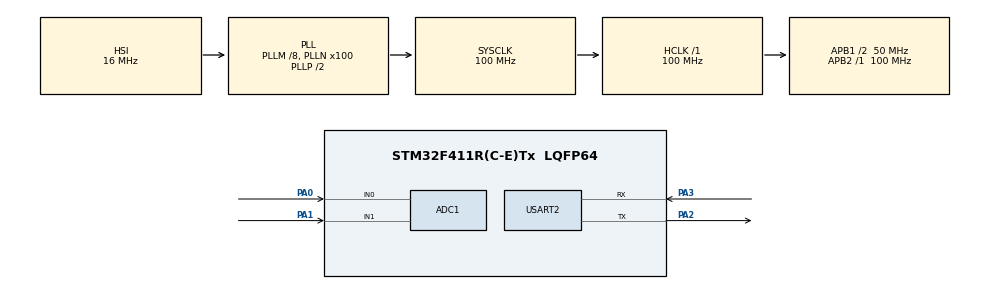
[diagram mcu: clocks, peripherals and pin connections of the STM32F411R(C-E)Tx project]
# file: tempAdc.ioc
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ADC1.Channel-0\#ChannelRegularConversion=ADC_CHANNEL_0
ADC1.Channel-1\#ChannelRegularConversion=ADC_CHANNEL_1
ADC1.ContinuousConvMode=ENABLE
ADC1.NbrOfConversion=2
ADC1.NbrOfConversionFlag=1
ADC1.Rank-0\#ChannelRegularConversion=1
ADC1.Rank-1\#ChannelRegularConversion=2
ADC1.SamplingTime-0\#ChannelRegularConversion=ADC_SAMPLETIME_84CYCLES
ADC1.SamplingTime-1\#ChannelRegularConversion=ADC_SAMPLETIME_84CYCLES
ADC1.ScanConvMode=ENABLE
ADC1.master=1
Mcu.Family=STM32F4
Mcu.Name=STM32F411R(C-E)Tx
Mcu.Package=LQFP64
NVIC.PriorityGroup=NVIC_PRIORITYGROUP_4
NVIC.USART2_IRQn=true\:0\:0\:false\:false\:true\:true\:true\:true
PA0-WKUP.Signal=ADCx_IN0
PA1.Signal=ADCx_IN1
PA2.Mode=Asynchronous
PA2.Signal=USART2_TX
PA3.Mode=Asynchronous
PA3.Signal=USART2_RX
ProjectManager.HeapSize=0x200
ProjectManager.StackSize=0x400
ProjectManager.TargetToolchain=STM32CubeIDE
RCC.48MHZClocksFreq_Value=50000000
RCC.AHBFreq_Value=100000000
RCC.APB1CLKDivider=RCC_HCLK_DIV2
RCC.APB1Freq_Value=50000000
RCC.APB1TimFreq_Value=100000000
RCC.APB2Freq_Value=100000000
RCC.APB2TimFreq_Value=100000000
RCC.CortexFreq_Value=100000000
RCC.HCLKFreq_Value=100000000
RCC.HSE_VALUE=25000000
RCC.HSI_VALUE=16000000
RCC.LSE_VALUE=32768
RCC.PLLM=8
RCC.PLLN=100
RCC.SYSCLKFreq_VALUE=100000000
RCC.SYSCLKSource=RCC_SYSCLKSOURCE_PLLCLK
RCC.VCOOutputFreq_Value=200000000
SH.ADCx_IN0.0=ADC1_IN0,IN0
SH.ADCx_IN1.0=ADC1_IN1,IN1
USART2.VirtualMode=VM_ASYNC
board=custom

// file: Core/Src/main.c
/* USER CODE BEGIN Header */
/**
  ******************************************************************************
  * @file           : main.c
  * @brief          : Main program body
  ******************************************************************************
  * @attention
  *
  * Copyright (c) 2024 STMicroelectronics.
  * All rights reserved.
  *
  * This software is licensed under terms that can be found in the LICENSE file
  * in the root directory of this software component.
  * If no LICENSE file comes with this software, it is provided AS-IS.
  *
  ******************************************************************************
  */
/* USER CODE END Header */
#include "main.h"

/* USER CODE BEGIN Includes */
#include "uart.h"
#include <stdio.h>
/* USER CODE END Includes */

ADC_HandleTypeDef hadc1;

UART_HandleTypeDef huart2;

void SystemClock_Config(void);
static void MX_GPIO_Init(void);
static void MX_ADC1_Init(void);
static void MX_USART2_UART_Init(void);

/* USER CODE BEGIN 0 */
uint32_t adcValue;
double MovingAverage(double measurement) {}

double Kalman(double measurement, uint8_t ch) {
// Kalman filter setup
	static double P[] = {1.0, 1.0};
	static double varP = 0.0001; // pow(0.01, 2)
	static double R[] = {0.25, 0.25}; //pow(0.5, 2);
	static double K[] = {1.0, 1.0};
	static double X[] = {20.0, 20.0};

// Kalman Simple Filter
	P[ch] = P[ch] + varP;
	K[ch] = P[ch] / (P[ch] + R[ch]);
	X[ch] = (K[ch] * measurement) + (1 - K[ch]) * X[ch];
	P[ch] = (1 - K[ch]) * P[ch];
	return X[ch];
}
/* USER CODE END 0 */

int main(void)
{

  /* MCU Configuration--------------------------------------------------------*/

  /* Reset of all peripherals, Initializes the Flash interface and the Systick. */
  HAL_Init();

  /* Configure the system clock */
  SystemClock_Config();

  /* Initialize all configured peripherals */
  MX_GPIO_Init();
  MX_ADC1_Init();
  MX_USART2_UART_Init();
  /* USER CODE BEGIN 2 */
  initUart(&huart2); //초기?���?? ?��주는 것이?�� !!!!!
  printf("start temperature with ADC example\n");
  /* USER CODE END 2 */

  /* Infinite loop */
  /* USER CODE BEGIN WHILE */
  while (1)
  {
     //AD�???��
     static uint16_t valueArray[100] = {0,};
     static uint8_t valuePosition = 0;

     HAL_ADC_Start(&hadc1); //&?�� �???���?? ?��?��?��?�� ?��?��?��?��거임
     HAL_ADC_PollForConversion(&hadc1, 1); //10�??리세?��
     uint16_t tmpValue = 4095 - HAL_ADC_GetValue(&hadc1);
     //HAL_ADC_Stop(&hadc1);
     HAL_ADC_Start(&hadc1);
     HAL_ADC_PollForConversion(&hadc1, 1);
     uint16_t cdsValue = 4095 - HAL_ADC_GetValue(&hadc1);
     HAL_ADC_Stop(&hadc1);

     adcValue -= valueArray[valuePosition];
     valueArray[valuePosition] = tmpValue;
     adcValue += valueArray[valuePosition];
     valuePosition++;
     valuePosition %=100; //valuePosition?�� 100?�� ?���?? 0?���?? 바꿔�???��?�� ?��

     //UART?��?��
     printf("%d\t%d\t%d\t%d\n",cdsValue, tmpValue, adcValue/100, (int)Kalman((double)tmpValue));
     HAL_Delay(1);
    /* USER CODE END WHILE */

  }
}

void SystemClock_Config(void)
{
  RCC_OscInitTypeDef RCC_OscInitStruct = {0};
  RCC_ClkInitTypeDef RCC_ClkInitStruct = {0};

  /** Configure the main internal regulator output voltage
  */
  __HAL_RCC_PWR_CLK_ENABLE();
  __HAL_PWR_VOLTAGESCALING_CONFIG(PWR_REGULATOR_VOLTAGE_SCALE1);

  /** Initializes the RCC Oscillators according to the specified parameters
  * in the RCC_OscInitTypeDef structure.
  */
  RCC_OscInitStruct.OscillatorType = RCC_OSCILLATORTYPE_HSI;
  RCC_OscInitStruct.HSIState = RCC_HSI_ON;
  RCC_OscInitStruct.HSICalibrationValue = RCC_HSICALIBRATION_DEFAULT;
  RCC_OscInitStruct.PLL.PLLState = RCC_PLL_ON;
  RCC_OscInitStruct.PLL.PLLSource = RCC_PLLSOURCE_HSI;
  RCC_OscInitStruct.PLL.PLLM = 8;
  RCC_OscInitStruct.PLL.PLLN = 100;
  RCC_OscInitStruct.PLL.PLLP = RCC_PLLP_DIV2;
  RCC_OscInitStruct.PLL.PLLQ = 4;
  if (HAL_RCC_OscConfig(&RCC_OscInitStruct) != HAL_OK)
  {
    Error_Handler();
  }

  /** Initializes the CPU, AHB and APB buses clocks
  */
  RCC_ClkInitStruct.ClockType = RCC_CLOCKTYPE_HCLK|RCC_CLOCKTYPE_SYSCLK
                              |RCC_CLOCKTYPE_PCLK1|RCC_CLOCKTYPE_PCLK2;
  RCC_ClkInitStruct.SYSCLKSource = RCC_SYSCLKSOURCE_PLLCLK;
  RCC_ClkInitStruct.AHBCLKDivider = RCC_SYSCLK_DIV1;
  RCC_ClkInitStruct.APB1CLKDivider = RCC_HCLK_DIV2;
  RCC_ClkInitStruct.APB2CLKDivider = RCC_HCLK_DIV1;

  if (HAL_RCC_ClockConfig(&RCC_ClkInitStruct, FLASH_LATENCY_3) != HAL_OK)
  {
    Error_Handler();
  }
}

static void MX_ADC1_Init(void)
{

  ADC_ChannelConfTypeDef sConfig = {0};

  /** Configure the global features of the ADC (Clock, Resolution, Data Alignment and number of conversion)
  */
  hadc1.Instance = ADC1;
  hadc1.Init.ClockPrescaler = ADC_CLOCK_SYNC_PCLK_DIV4;
  hadc1.Init.Resolution = ADC_RESOLUTION_12B;
  hadc1.Init.ScanConvMode = ENABLE;
  hadc1.Init.ContinuousConvMode = ENABLE;
  hadc1.Init.DiscontinuousConvMode = DISABLE;
  hadc1.Init.ExternalTrigConvEdge = ADC_EXTERNALTRIGCONVEDGE_NONE;
  hadc1.Init.ExternalTrigConv = ADC_SOFTWARE_START;
  hadc1.Init.DataAlign = ADC_DATAALIGN_RIGHT;
  hadc1.Init.NbrOfConversion = 2;
  hadc1.Init.DMAContinuousRequests = DISABLE;
  hadc1.Init.EOCSelection = ADC_EOC_SINGLE_CONV;
  if (HAL_ADC_Init(&hadc1) != HAL_OK)
  {
    Error_Handler();
  }

  /** Configure for the selected ADC regular channel its corresponding rank in the sequencer and its sample time.
  */
  sConfig.Channel = ADC_CHANNEL_0;
  sConfig.Rank = 1;
  sConfig.SamplingTime = ADC_SAMPLETIME_84CYCLES;
  if (HAL_ADC_ConfigChannel(&hadc1, &sConfig) != HAL_OK)
  {
    Error_Handler();
  }

  /** Configure for the selected ADC regular channel its corresponding rank in the sequencer and its sample time.
  */
  sConfig.Channel = ADC_CHANNEL_1;
  sConfig.Rank = 2;
  if (HAL_ADC_ConfigChannel(&hadc1, &sConfig) != HAL_OK)
  {
    Error_Handler();
  }

}

static void MX_USART2_UART_Init(void)
{

  huart2.Instance = USART2;
  huart2.Init.BaudRate = 115200;
  huart2.Init.WordLength = UART_WORDLENGTH_8B;
  huart2.Init.StopBits = UART_STOPBITS_1;
  huart2.Init.Parity = UART_PARITY_NONE;
  huart2.Init.Mode = UART_MODE_TX_RX;
  huart2.Init.HwFlowCtl = UART_HWCONTROL_NONE;
  huart2.Init.OverSampling = UART_OVERSAMPLING_16;
  if (HAL_UART_Init(&huart2) != HAL_OK)
  {
    Error_Handler();
  }

}

static void MX_GPIO_Init(void)
{

  /* GPIO Ports Clock Enable */
  __HAL_RCC_GPIOA_CLK_ENABLE();

}

void Error_Handler(void)
{
  __disable_irq();
  while (1)
  {
  }
}
